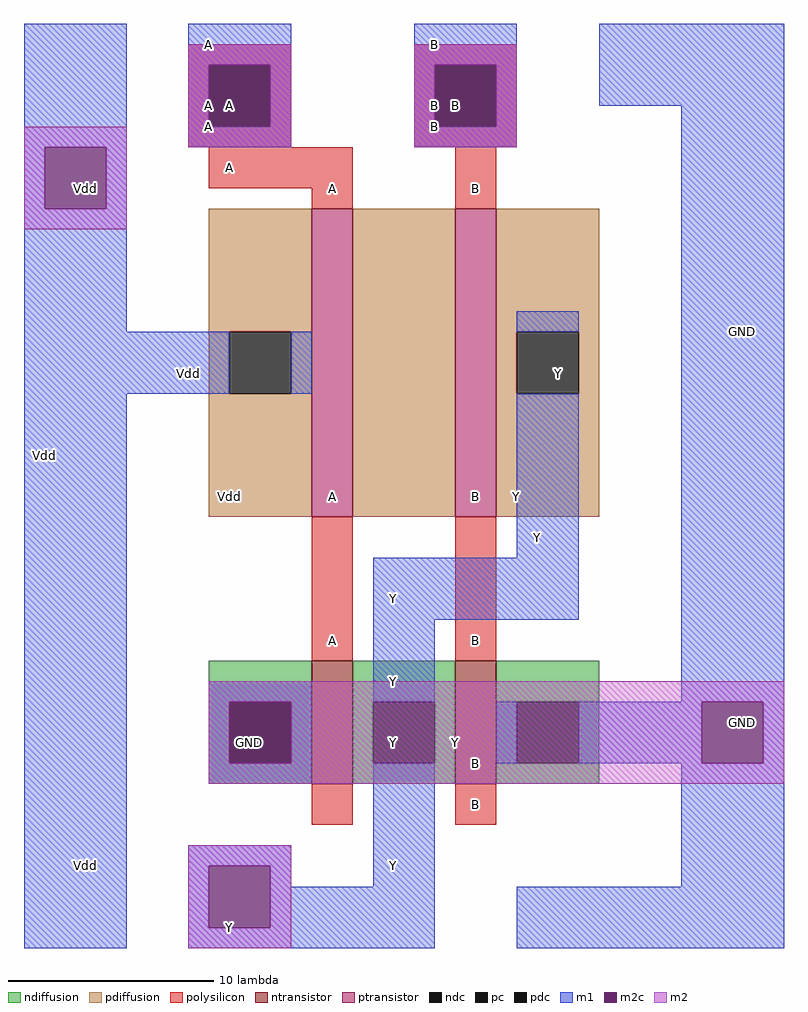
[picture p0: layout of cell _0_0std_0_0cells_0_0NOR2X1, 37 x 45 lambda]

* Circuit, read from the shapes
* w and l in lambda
.subckt _0_0std_0_0cells_0_0NOR2X1 Y B A
M1 Y A GND VSUBS nfet w=6 l=2
M2 GND B Y VSUBS nfet w=6 l=2
M3 n1 A Vdd NWELL pfet w=15 l=2
M4 Y B n1 NWELL pfet w=15 l=2
.ends

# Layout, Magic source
magic
tech sky130l
<< ndiffusion >>
rect 16 14 21 16
rect 16 11 17 14
rect 20 11 21 14
rect 16 10 21 11
rect 23 14 28 16
rect 23 11 24 14
rect 27 11 28 14
rect 23 10 28 11
rect 30 14 35 16
rect 30 11 31 14
rect 34 11 35 14
rect 30 10 35 11
<< ndc >>
rect 17 11 20 14
rect 24 11 27 14
rect 31 11 34 14
<< ntransistor >>
rect 21 10 23 16
rect 28 10 30 16
<< pdiffusion >>
rect 16 32 21 38
rect 16 29 17 32
rect 20 29 21 32
rect 16 23 21 29
rect 23 23 28 38
rect 30 32 35 38
rect 30 29 31 32
rect 34 29 35 32
rect 30 23 35 29
<< pdc >>
rect 17 29 20 32
rect 31 29 34 32
<< ptransistor >>
rect 21 23 23 38
rect 28 23 30 38
<< polysilicon >>
rect 15 45 20 46
rect 15 42 16 45
rect 19 42 20 45
rect 15 41 20 42
rect 26 45 31 46
rect 26 42 27 45
rect 30 42 31 45
rect 26 41 31 42
rect 16 39 23 41
rect 21 38 23 39
rect 28 38 30 41
rect 21 16 23 23
rect 28 16 30 23
rect 21 8 23 10
rect 28 8 30 10
<< pc >>
rect 16 42 19 45
rect 27 42 30 45
<< m1 >>
rect 7 41 12 47
rect 15 45 20 47
rect 15 42 16 45
rect 19 42 20 45
rect 15 41 20 42
rect 26 45 31 47
rect 26 42 27 45
rect 30 42 31 45
rect 35 43 44 47
rect 26 41 31 42
rect 7 38 8 41
rect 11 38 12 41
rect 7 32 12 38
rect 31 32 34 33
rect 7 29 17 32
rect 20 29 21 32
rect 7 2 12 29
rect 31 21 34 29
rect 24 18 34 21
rect 16 14 21 15
rect 16 11 17 14
rect 20 11 21 14
rect 16 10 21 11
rect 24 14 27 18
rect 39 14 44 43
rect 30 11 31 14
rect 34 11 40 14
rect 43 11 44 14
rect 15 6 20 7
rect 15 3 16 6
rect 19 5 20 6
rect 24 5 27 11
rect 39 5 44 11
rect 19 3 27 5
rect 15 2 27 3
rect 31 2 44 5
<< m2c >>
rect 16 42 19 45
rect 27 42 30 45
rect 8 38 11 41
rect 17 11 20 14
rect 40 11 43 14
rect 16 3 19 6
<< m2 >>
rect 15 45 20 46
rect 15 42 16 45
rect 19 42 20 45
rect 7 41 12 42
rect 15 41 20 42
rect 26 45 31 46
rect 26 42 27 45
rect 30 42 31 45
rect 26 41 31 42
rect 7 38 8 41
rect 11 38 12 41
rect 7 37 12 38
rect 16 14 44 15
rect 16 11 17 14
rect 20 11 40 14
rect 43 11 44 14
rect 16 10 44 11
rect 15 6 20 7
rect 15 3 16 6
rect 19 3 20 6
rect 15 2 20 3
<< labels >>
rlabel polysilicon 29 39 29 39 3 B
rlabel ndiffusion 28 12 28 12 3 Y
rlabel pdiffusion 31 24 31 24 3 Y
rlabel polysilicon 29 9 29 9 3 B
rlabel ntransistor 29 11 29 11 3 B
rlabel polysilicon 29 17 29 17 3 B
rlabel ptransistor 29 24 29 24 3 B
rlabel polysilicon 22 39 22 39 3 A
rlabel polysilicon 22 17 22 17 3 A
rlabel ptransistor 22 24 22 24 3 A
rlabel pdiffusion 17 24 17 24 3 Vdd
rlabel polysilicon 17 40 17 40 3 A
rlabel m1 32 22 32 22 3 Y
port 1 e
rlabel ndc 25 12 25 12 3 Y
port 1 e
rlabel pc 28 43 28 43 3 B
port 2 e
rlabel m1 27 42 27 42 3 B
port 2 e
rlabel m1 27 43 27 43 3 B
port 2 e
rlabel m1 27 46 27 46 3 B
port 2 e
rlabel m1 25 6 25 6 3 Y
port 1 e
rlabel m1 25 15 25 15 3 Y
port 1 e
rlabel m1 25 19 25 19 3 Y
port 1 e
rlabel pc 17 43 17 43 3 A
port 3 e
rlabel m1 16 42 16 42 3 A
port 3 e
rlabel m1 16 43 16 43 3 A
port 3 e
rlabel m1 16 46 16 46 3 A
port 3 e
rlabel m1 17 3 17 3 3 Y
port 1 e
rlabel m1 15 30 15 30 1 Vdd
rlabel m2c 10 39 10 39 3 Vdd
rlabel m2c 42 13 42 13 7 GND
rlabel m2c 18 12 18 12 1 GND
rlabel pdc 33 30 33 30 1 Y
rlabel m1 42 32 42 32 7 GND
rlabel m1 8 26 8 26 3 Vdd
rlabel m1 10 6 10 6 2 Vdd
<< end >>
